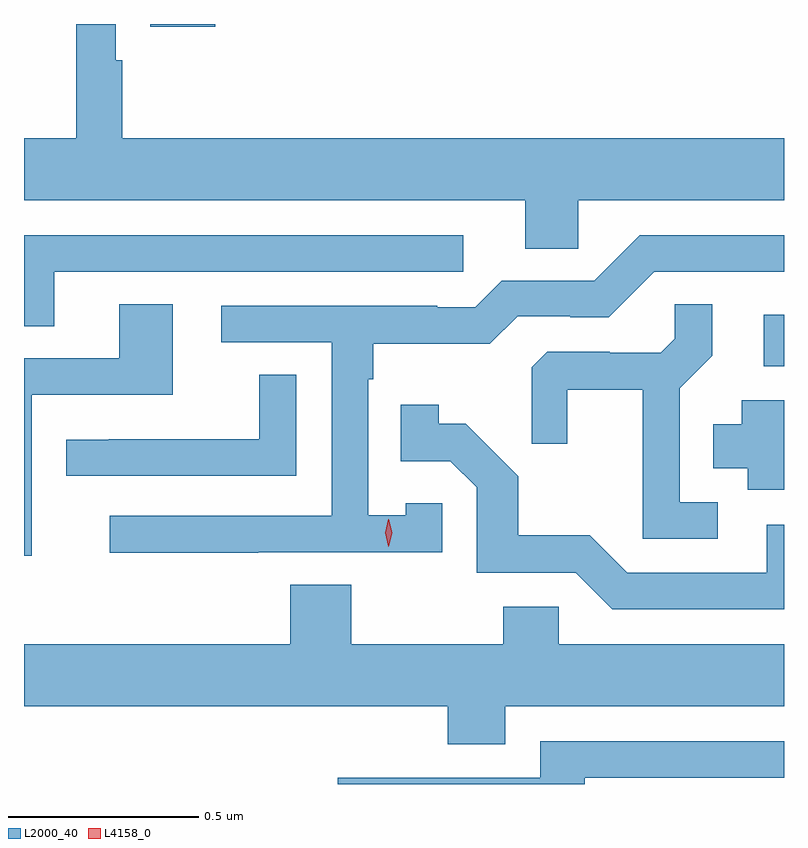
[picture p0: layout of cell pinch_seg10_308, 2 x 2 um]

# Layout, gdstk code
import gdstk
lib = gdstk.Library(unit=1e-6, precision=1e-09)
def R(c, l, rs):  # rectangles x0, y0, x1, y1
    for r in rs: c.add(gdstk.rectangle(r[:2], r[2:], *l))
def P(c, l, *ps):  # polygons
    for p in ps: c.add(gdstk.Polygon(p, *l))
L2000_40 = (2000, 40)
L4158_0 = (4158, 0)

pinch_seg10_308 = lib.new_cell('pinch_seg10_308')
R(pinch_seg10_308, L2000_40, [(493.941,1307.871,493.994,1308.007), (492.326,1308.765,492.497,1308.772)])
P(pinch_seg10_308, L2000_40, [(493.452,1308.308),(493.994,1308.308),(493.994,1308.472),(492.253,1308.472),(492.253,1308.677),(492.235,1308.677),(492.235,1308.772),(492.131,1308.772),(492.131,1308.472),(491.994,1308.472),(491.994,1308.308),(493.313,1308.308),(493.313,1308.181),(493.452,1308.181)],
  [(492.073,1308.12),(493.15,1308.12),(493.15,1308.216),(491.994,1308.216),(491.994,1307.977),(492.073,1307.977)],
  [(492.611,1307.382),(493.095,1307.382),(493.095,1307.511),(492.999,1307.511),(492.999,1307.479),(492.9,1307.479),(492.9,1307.837),(492.913,1307.837),(492.913,1307.93),(493.22,1307.93),(493.293,1308.003),(493.432,1308.003),(493.432,1308),(493.533,1308),(493.653,1308.12),(493.994,1308.12),(493.994,1308.216),(493.614,1308.216),(493.494,1308.096),(493.251,1308.096),(493.182,1308.027),(493.082,1308.027),(493.082,1308.03),(492.513,1308.03),(492.513,1307.934),(492.804,1307.934),(492.804,1307.478),(492.219,1307.478),(492.219,1307.38),(492.611,1307.38)],
  [(493.819,1307.514),(493.719,1307.514),(493.719,1307.813),(493.805,1307.899),(493.805,1308.035),(493.707,1308.035),(493.707,1307.944),(493.67,1307.907),(493.536,1307.907),(493.536,1307.91),(493.371,1307.91),(493.33,1307.869),(493.33,1307.667),(493.424,1307.667),(493.424,1307.81),(493.622,1307.81),(493.622,1307.418),(493.819,1307.418)],
  [(492.015,1307.796),(492.385,1307.796),(492.385,1308.035),(492.245,1308.035),(492.245,1307.892),(491.994,1307.892),(491.994,1307.373),(492.015,1307.373)],
  [(492.711,1307.849),(492.613,1307.849),(492.613,1307.679),(492.217,1307.679),(492.217,1307.678),(492.105,1307.678),(492.105,1307.583),(492.711,1307.583)],
  [(493.994,1307.782),(493.883,1307.782),(493.883,1307.719),(493.808,1307.719),(493.808,1307.603),(493.898,1307.603),(493.898,1307.546),(493.994,1307.546)],
  [(493.994,1307.454),(493.949,1307.454),(493.949,1307.328),(493.581,1307.328),(493.483,1307.427),(493.294,1307.427),(493.294,1307.582),(493.156,1307.72),(493.086,1307.72),(493.086,1307.77),(492.985,1307.77),(492.985,1307.622),(493.116,1307.622),(493.185,1307.553),(493.185,1307.328),(493.446,1307.328),(493.542,1307.232),(493.994,1307.232)],
  [(493.261,1306.976),(493.994,1306.976),(493.994,1307.14),(493.401,1307.14),(493.401,1307.238),(493.255,1307.238),(493.255,1307.14),(492.855,1307.14),(492.855,1307.297),(492.695,1307.297),(492.695,1307.14),(491.994,1307.14),(491.994,1306.976),(493.109,1306.976),(493.109,1306.877),(493.261,1306.877)],
  [(493.469,1306.788),(493.994,1306.788),(493.994,1306.884),(493.353,1306.884),(493.353,1306.788),(492.819,1306.788),(492.819,1306.772),(493.469,1306.772)])
P(pinch_seg10_308, L4158_0, [(492.953,1307.397),(492.953,1307.398),(492.944,1307.433),(492.953,1307.469),(492.953,1307.469),(492.954,1307.469),(492.963,1307.433),(492.954,1307.398)])

lib.write_gds('pinch_seg10_308.gds')
